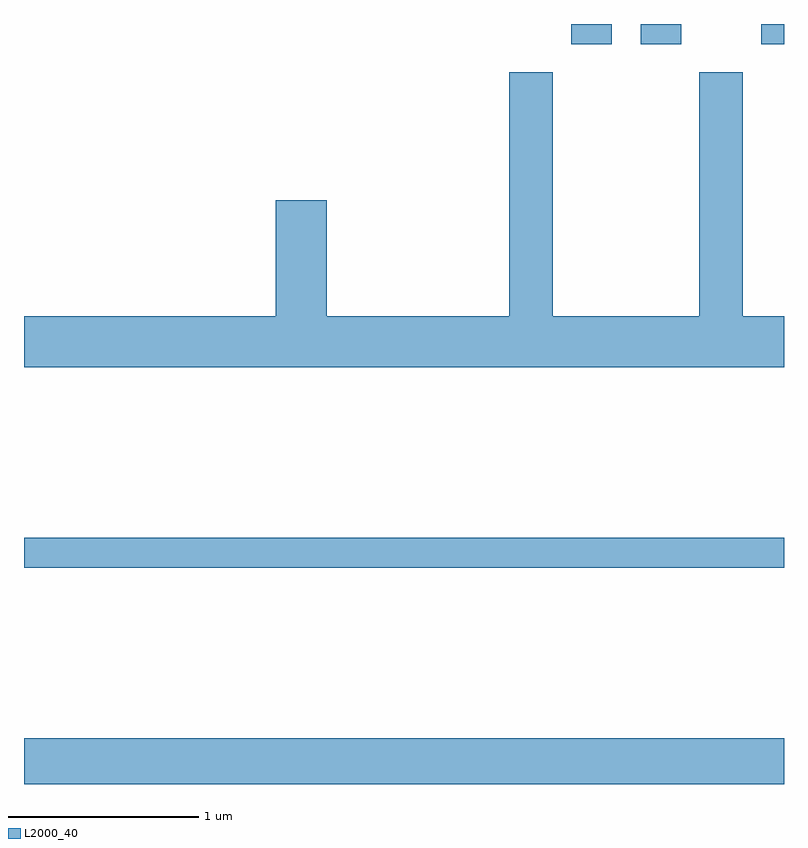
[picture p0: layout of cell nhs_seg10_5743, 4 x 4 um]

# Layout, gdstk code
import gdstk
lib = gdstk.Library(unit=1e-6, precision=1e-09)
def R(c, l, rs):  # rectangles x0, y0, x1, y1
    for r in rs: c.add(gdstk.rectangle(r[:2], r[2:], *l))
def P(c, l, *ps):  # polygons
    for p in ps: c.add(gdstk.Polygon(p, *l))
L2000_40 = (2000, 40)

nhs_seg10_5743 = lib.new_cell('nhs_seg10_5743')
R(nhs_seg10_5743, L2000_40, [(353.611,2200.522,357.611,2200.764), (353.611,2201.661,357.611,2201.819), (356.491,2204.416,356.704,2204.522), (356.856,2204.416,357.069,2204.522), (357.491,2204.416,357.611,2204.522)])
P(nhs_seg10_5743, L2000_40, [(357.611,2202.984),(357.394,2202.984),(357.394,2204.269),(357.166,2204.269),(357.166,2202.984),(356.394,2202.984),(356.394,2204.269),(356.166,2204.269),(356.166,2202.984),(355.204,2202.984),(355.204,2203.594),(354.936,2203.594),(354.936,2202.984),(353.611,2202.984),(353.611,2202.716),(357.611,2202.716)])

lib.write_gds('nhs_seg10_5743.gds')
